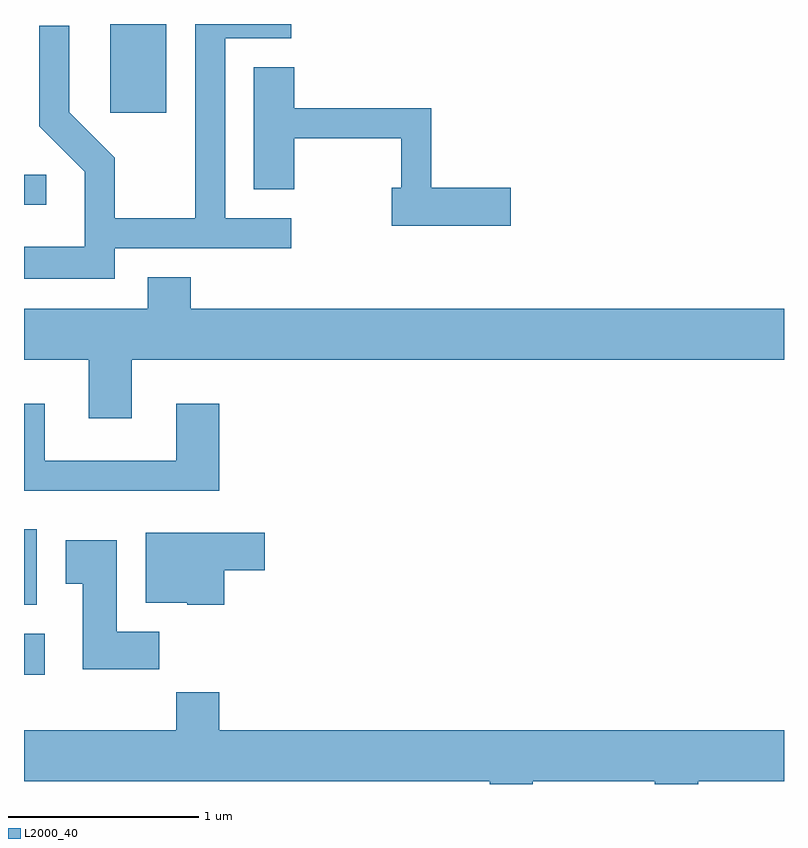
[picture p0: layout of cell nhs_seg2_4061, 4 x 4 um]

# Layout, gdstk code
import gdstk
lib = gdstk.Library(unit=1e-6, precision=1e-09)
def R(c, l, rs):  # rectangles x0, y0, x1, y1
    for r in rs: c.add(gdstk.rectangle(r[:2], r[2:], *l))
def P(c, l, *ps):  # polygons
    for p in ps: c.add(gdstk.Polygon(p, *l))
L2000_40 = (2000, 40)

nhs_seg2_4061 = lib.new_cell('nhs_seg2_4061')
R(nhs_seg2_4061, L2000_40, [(303.611,1104.376,303.719,1104.594), (303.611,1104.746,303.679,1105.144), (303.611,1106.851,303.728,1107.009), (304.066,1107.336,304.359,1107.802)])
P(nhs_seg2_4061, L2000_40, [(304.089,1106.621),(305.018,1106.621),(305.018,1106.779),(304.669,1106.779),(304.669,1107.726),(305.018,1107.726),(305.018,1107.802),(304.511,1107.802),(304.511,1106.779),(304.089,1106.779),(304.089,1107.097),(303.849,1107.337),(303.849,1107.793),(303.691,1107.793),(303.691,1107.264),(303.931,1107.024),(303.931,1106.629),(303.611,1106.629),(303.611,1106.461),(304.089,1106.461)],
  [(306.174,1106.939),(305.754,1106.939),(305.754,1107.359),(305.034,1107.359),(305.034,1107.574),(304.821,1107.574),(304.821,1106.931),(305.034,1106.931),(305.034,1107.201),(305.596,1107.201),(305.596,1106.939),(305.546,1106.939),(305.546,1106.741),(306.174,1106.741)],
  [(304.261,1106.469),(304.261,1106.304),(303.611,1106.304),(303.611,1106.036),(303.951,1106.036),(303.951,1105.726),(304.179,1105.726),(304.179,1106.036),(307.611,1106.036),(307.611,1106.304),(304.489,1106.304),(304.489,1106.469)],
  [(304.639,1105.804),(304.411,1105.804),(304.411,1105.504),(303.719,1105.504),(303.719,1105.804),(303.611,1105.804),(303.611,1105.346),(304.639,1105.346)],
  [(304.664,1104.926),(304.879,1104.926),(304.879,1105.124),(304.251,1105.124),(304.251,1104.756),(304.47,1104.756),(304.47,1104.746),(304.664,1104.746)],
  [(304.324,1104.604),(304.099,1104.604),(304.099,1105.084),(303.831,1105.084),(303.831,1104.856),(303.921,1104.856),(303.921,1104.406),(304.324,1104.406)],
  [(306.289,1103.816),(306.931,1103.816),(306.931,1103.802),(307.159,1103.802),(307.159,1103.816),(307.611,1103.816),(307.611,1104.084),(304.639,1104.084),(304.639,1104.284),(304.411,1104.284),(304.411,1104.084),(303.611,1104.084),(303.611,1103.816),(306.061,1103.816),(306.061,1103.802),(306.289,1103.802)])

lib.write_gds('nhs_seg2_4061.gds')
